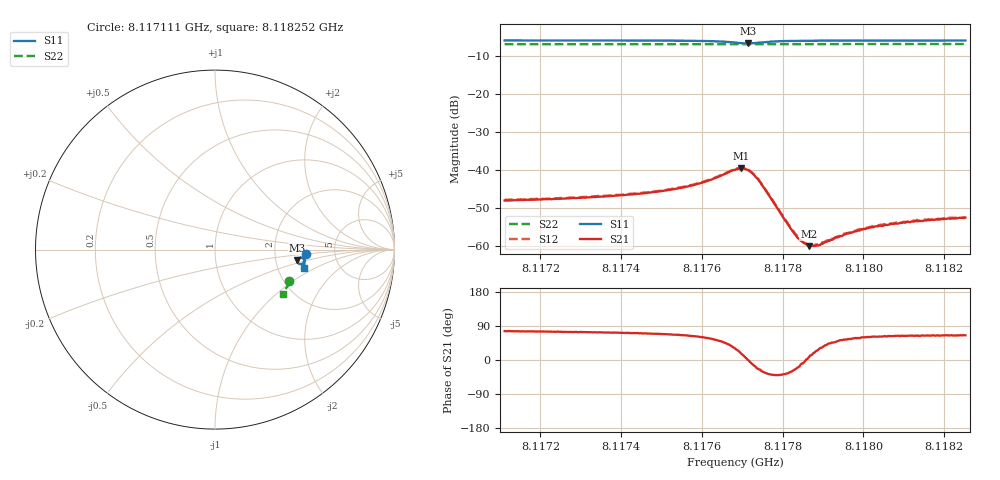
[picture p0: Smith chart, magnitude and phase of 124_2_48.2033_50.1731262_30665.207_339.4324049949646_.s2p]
#  HZ  S  RI  R  50.00
! Rohde & Schwarz Vector Network Analyzer
! Rohde-Schwarz,ZNB20-2Port,1311601062101988,3.16
! Created: UTC 3/20/2024, 11:41:38 AM
! freq[Hz]  re:S11  im:S11  re:S21  im:S21  re:S12  im:S12  re:S22  im:S22
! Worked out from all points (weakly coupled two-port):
!   401 points, 8.117111 GHz to 8.118252 GHz, reference 50 ohm
!   highest |S21| = -39.64 dB at 8.117696 GHz (marker M1); lowest = -60.1 dB at 8.117864 GHz (marker M2)
!   lowest |S11| = -6.7 dB at 8.117713 GHz (marker M3), VSWR 2.72, Z = 132 - j20.1 ohm
!   |S11| at or under -10 dB: nowhere
!   |S22| runs from -6.9 to -6.9 dB; largest |S21 - S12| = 0.00044
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8.1171114e9  0.5054 -0.0257  0.000928 0.00382  0.000999 0.00391  0.4149 -0.1768
8.1173025e9  0.5038 -0.0414  0.0012 0.00413  0.00127 0.00418  0.41 -0.1893
8.1173995e9  0.5025 -0.0501  0.00145 0.0044  0.00151 0.00442  0.4071 -0.1957
8.1174936e9  0.5001 -0.0593  0.00186 0.00484  0.00195 0.00491  0.4047 -0.2017
8.117582e9  0.4954 -0.0704  0.00292 0.00562  0.00301 0.00573  0.4018 -0.2074
8.1176248e9  0.4894 -0.0769  0.00423 0.00617  0.00434 0.00625  0.4002 -0.2103
8.1176818e9  0.4681 -0.0793  0.0086 0.00507  0.00886 0.0051  0.3974 -0.2134
8.1176961e9  0.461 -0.0727  0.00992 0.00321  0.0101 0.00334  0.3969 -0.2139
8.1177132e9  0.4582 -0.0596  0.00996 8.93e-05  0.0102 -5.68e-06  0.3967 -0.2143
8.1177246e9  0.4619 -0.0512  0.00886 -0.00173  0.00897 -0.00185  0.3965 -0.2147
8.1177446e9  0.4738 -0.0442  0.00619 -0.003  0.00607 -0.0032  0.3965 -0.2157
8.117813e9  0.4949 -0.0555  0.00157 -0.0011  0.00157 -0.00111  0.3952 -0.2206
8.1178302e9  0.4964 -0.0586  0.00129 -0.0006  0.00131 -0.000633  0.3947 -0.2218
8.1178501e9  0.4974 -0.0621  0.00109 -0.000173  0.00112 -0.000158  0.3939 -0.2231
8.1178644e9  0.4979 -0.0643  0.000979 0.000116  0.00101 0.000107  0.3937 -0.2241
8.1178729e9  0.498 -0.0655  0.000967 0.000244  0.000968 0.000249  0.3934 -0.2246
8.1178929e9  0.4983 -0.0683  0.000876 0.000538  0.00093 0.000522  0.3928 -0.2259
8.1179357e9  0.4985 -0.0734  0.000835 0.000976  0.000871 0.000995  0.3914 -0.2287
8.1179842e9  0.4982 -0.0785  0.000854 0.00132  0.000867 0.00137  0.3898 -0.2316
8.118064e9  0.4974 -0.086  0.000866 0.0017  0.00087 0.00172  0.3871 -0.2366
8.1181553e9  0.4961 -0.0939  0.000922 0.00194  0.000968 0.00197  0.384 -0.2422
8.1182523e9  0.4947 -0.1017  0.000981 0.00212  0.000983 0.00214  0.3805 -0.2481
